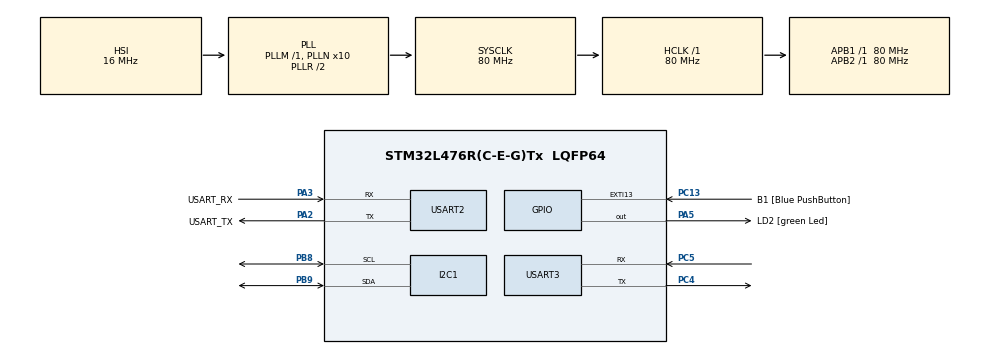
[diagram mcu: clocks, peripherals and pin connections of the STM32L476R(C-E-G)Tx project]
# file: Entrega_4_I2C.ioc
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I2C1.Timing=0x10909CEC
Mcu.Family=STM32L4
Mcu.Name=STM32L476R(C-E-G)Tx
Mcu.Package=LQFP64
NVIC.I2C1_ER_IRQn=true\:0\:0\:false\:false\:true\:true\:true\:true
NVIC.I2C1_EV_IRQn=true\:0\:0\:false\:false\:true\:true\:true\:true
NVIC.PriorityGroup=NVIC_PRIORITYGROUP_4
NVIC.USART2_IRQn=true\:0\:0\:false\:false\:true\:true\:true\:true
NVIC.USART3_IRQn=true\:0\:0\:false\:false\:true\:true\:true\:true
PA13\ (JTMS-SWDIO).GPIO_Label=TMS
PA13\ (JTMS-SWDIO).Mode=Serial_Wire
PA13\ (JTMS-SWDIO).Signal=SYS_JTMS-SWDIO
PA14\ (JTCK-SWCLK).GPIO_Label=TCK
PA14\ (JTCK-SWCLK).Mode=Serial_Wire
PA14\ (JTCK-SWCLK).Signal=SYS_JTCK-SWCLK
PA2.GPIO_Label=USART_TX
PA2.GPIO_Mode=GPIO_MODE_AF_PP
PA2.GPIO_PuPd=GPIO_NOPULL
PA2.GPIO_Speed=GPIO_SPEED_FREQ_VERY_HIGH
PA2.Mode=Asynchronous
PA2.Signal=USART2_TX
PA3.GPIO_Label=USART_RX
PA3.GPIO_Mode=GPIO_MODE_AF_PP
PA3.GPIO_PuPd=GPIO_NOPULL
PA3.GPIO_Speed=GPIO_SPEED_FREQ_VERY_HIGH
PA3.Mode=Asynchronous
PA3.Signal=USART2_RX
PA5.GPIO_Label=LD2 [green Led]
PA5.GPIO_ModeDefaultOutputPP=GPIO_MODE_OUTPUT_PP
PA5.GPIO_PuPd=GPIO_NOPULL
PA5.GPIO_Speed=GPIO_SPEED_FREQ_LOW
PA5.Signal=GPIO_Output
PB3\ (JTDO-TRACESWO).GPIO_Label=SWO
PB3\ (JTDO-TRACESWO).Signal=SYS_JTDO-SWO
PB8.Mode=I2C
PB8.Signal=I2C1_SCL
PB9.Mode=I2C
PB9.Signal=I2C1_SDA
PC13.GPIO_Label=B1 [Blue PushButton]
PC13.GPIO_ModeDefaultEXTI=GPIO_MODE_IT_FALLING
PC13.GPIO_PuPd=GPIO_NOPULL
PC13.Signal=GPXTI13
PC14-OSC32_IN\ (PC14).Mode=LSE-External-Oscillator
PC14-OSC32_IN\ (PC14).Signal=RCC_OSC32_IN
PC15-OSC32_OUT\ (PC15).Mode=LSE-External-Oscillator
PC15-OSC32_OUT\ (PC15).Signal=RCC_OSC32_OUT
PC4.Mode=Asynchronous
PC4.Signal=USART3_TX
PC5.Mode=Asynchronous
PC5.Signal=USART3_RX
PH0-OSC_IN\ (PH0).Signal=RCC_OSC_IN
PH1-OSC_OUT\ (PH1).Signal=RCC_OSC_OUT
ProjectManager.HeapSize=0x200
ProjectManager.StackSize=0x400
ProjectManager.TargetToolchain=STM32CubeIDE
RCC.ADCFreq_Value=64000000
RCC.AHBFreq_Value=80000000
RCC.APB1Freq_Value=80000000
RCC.APB1TimFreq_Value=80000000
RCC.APB2Freq_Value=80000000
RCC.APB2TimFreq_Value=80000000
RCC.CortexFreq_Value=80000000
RCC.HCLKFreq_Value=80000000
RCC.HSE_VALUE=8000000
RCC.HSI_VALUE=16000000
RCC.MSI_VALUE=4000000
RCC.PLLN=10
RCC.PLLSourceVirtual=RCC_PLLSOURCE_HSI
RCC.PREFETCH_ENABLE=1
RCC.SYSCLKFreq_VALUE=80000000
RCC.SYSCLKSource=RCC_SYSCLKSOURCE_PLLCLK
RCC.USBFreq_Value=64000000
RCC.VCOOutputFreq_Value=160000000
USART2.VirtualMode-Asynchronous=VM_ASYNC
USART3.VirtualMode-Asynchronous=VM_ASYNC
board=NUCLEO-L476RG

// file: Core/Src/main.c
/* USER CODE BEGIN Header */
/**
  ******************************************************************************
  * @file           : main.c
  * @brief          : Main program body
  ******************************************************************************
  */
/* USER CODE END Header */

#include "main.h"

/* USER CODE BEGIN Includes */
#include <string.h>
#include <stdio.h>
#include <stdlib.h>
/* USER CODE END Includes */

/* USER CODE BEGIN PD */
#define PCF8591_ADDR       (0x48 << 1)

#define PCF8591_CH0        0x00
#define PCF8591_CH1        0x01
#define PCF8591_CH3        0x03
#define PCF8591_DAC_ENABLE 0x40

#define RX_BUFFER_SIZE     64
/* USER CODE END PD */

I2C_HandleTypeDef hi2c1;

UART_HandleTypeDef huart2;
UART_HandleTypeDef huart3;

/* USER CODE BEGIN PV */
uint8_t uart_rx_byte;

char uart_cmd_buffer[RX_BUFFER_SIZE];
volatile uint8_t uart_cmd_index = 0;
volatile uint8_t uart_cmd_ready = 0;

uint8_t i2c_tx_buffer[2];
uint8_t i2c_rx_buffer[2];

volatile uint8_t current_channel = 0;
volatile uint8_t waiting_adc_read = 0;
volatile uint8_t waiting_dac_write = 0;
volatile uint8_t current_dac_value = 0;

char uart_tx_buffer[128];
/* USER CODE END PV */

void SystemClock_Config(void);
static void MX_GPIO_Init(void);
static void MX_USART2_UART_Init(void);
static void MX_I2C1_Init(void);
static void MX_USART3_UART_Init(void);

/* USER CODE BEGIN PFP */
void process_command(char *cmd);
void pcf8591_read_channel(uint8_t channel);
void pcf8591_set_dac(uint8_t value);
void debug_print(const char *msg);
void blink_startup(void);
/* USER CODE END PFP */

/* USER CODE BEGIN 0 */

void debug_print(const char *msg)
{
  HAL_UART_Transmit(&huart2, (uint8_t *)msg, strlen(msg), 100);
}

void blink_startup(void)
{
  for (int i = 0; i < 3; i++)
  {
    HAL_GPIO_WritePin(LD2_GPIO_Port, LD2_Pin, GPIO_PIN_SET);
    HAL_Delay(150);
    HAL_GPIO_WritePin(LD2_GPIO_Port, LD2_Pin, GPIO_PIN_RESET);
    HAL_Delay(150);
  }
}

/* USER CODE END 0 */

int main(void)
{

  HAL_Init();

  SystemClock_Config();

  MX_GPIO_Init();
  MX_USART2_UART_Init();
  MX_I2C1_Init();
  MX_USART3_UART_Init();

  /* USER CODE BEGIN 2 */

  blink_startup();

  debug_print("\r\n====================================\r\n");
  debug_print("Sistema iniciado na USART2\r\n");
  debug_print("Terminal: Tera Term / COM3 / 115200\r\n");
  debug_print("I2C1: PCF8591 endereco 0x48\r\n");
  debug_print("====================================\r\n");
  debug_print("Comandos disponiveis:\r\n");
  debug_print("Read_AIN0\r\n");
  debug_print("Read_AIN1\r\n");
  debug_print("Read_AIN3\r\n");
  debug_print("Set_DAC_0 ate Set_DAC_255\r\n");
  debug_print("Exemplo: Set_DAC_125\r\n");
  debug_print("====================================\r\n\r\n");

  HAL_UART_Receive_IT(&huart2, &uart_rx_byte, 1);

  /* USER CODE END 2 */

  /* Infinite loop */
  while (1)
  {
    /* USER CODE BEGIN WHILE */

    if (uart_cmd_ready)
    {
      uart_cmd_ready = 0;

      process_command(uart_cmd_buffer);

      memset(uart_cmd_buffer, 0, RX_BUFFER_SIZE);
    }

    /* USER CODE END WHILE */

  }
}

void SystemClock_Config(void)
{
  RCC_OscInitTypeDef RCC_OscInitStruct = {0};
  RCC_ClkInitTypeDef RCC_ClkInitStruct = {0};

  if (HAL_PWREx_ControlVoltageScaling(PWR_REGULATOR_VOLTAGE_SCALE1) != HAL_OK)
  {
    Error_Handler();
  }

  RCC_OscInitStruct.OscillatorType = RCC_OSCILLATORTYPE_HSI;
  RCC_OscInitStruct.HSIState = RCC_HSI_ON;
  RCC_OscInitStruct.HSICalibrationValue = RCC_HSICALIBRATION_DEFAULT;
  RCC_OscInitStruct.PLL.PLLState = RCC_PLL_ON;
  RCC_OscInitStruct.PLL.PLLSource = RCC_PLLSOURCE_HSI;
  RCC_OscInitStruct.PLL.PLLM = 1;
  RCC_OscInitStruct.PLL.PLLN = 10;
  RCC_OscInitStruct.PLL.PLLP = RCC_PLLP_DIV7;
  RCC_OscInitStruct.PLL.PLLQ = RCC_PLLQ_DIV2;
  RCC_OscInitStruct.PLL.PLLR = RCC_PLLR_DIV2;

  if (HAL_RCC_OscConfig(&RCC_OscInitStruct) != HAL_OK)
  {
    Error_Handler();
  }

  RCC_ClkInitStruct.ClockType = RCC_CLOCKTYPE_HCLK | RCC_CLOCKTYPE_SYSCLK
                              | RCC_CLOCKTYPE_PCLK1 | RCC_CLOCKTYPE_PCLK2;
  RCC_ClkInitStruct.SYSCLKSource = RCC_SYSCLKSOURCE_PLLCLK;
  RCC_ClkInitStruct.AHBCLKDivider = RCC_SYSCLK_DIV1;
  RCC_ClkInitStruct.APB1CLKDivider = RCC_HCLK_DIV1;
  RCC_ClkInitStruct.APB2CLKDivider = RCC_HCLK_DIV1;

  if (HAL_RCC_ClockConfig(&RCC_ClkInitStruct, FLASH_LATENCY_4) != HAL_OK)
  {
    Error_Handler();
  }
}

static void MX_I2C1_Init(void)
{
  hi2c1.Instance = I2C1;
  hi2c1.Init.Timing = 0x10909CEC;
  hi2c1.Init.OwnAddress1 = 0;
  hi2c1.Init.AddressingMode = I2C_ADDRESSINGMODE_7BIT;
  hi2c1.Init.DualAddressMode = I2C_DUALADDRESS_DISABLE;
  hi2c1.Init.OwnAddress2 = 0;
  hi2c1.Init.OwnAddress2Masks = I2C_OA2_NOMASK;
  hi2c1.Init.GeneralCallMode = I2C_GENERALCALL_DISABLE;
  hi2c1.Init.NoStretchMode = I2C_NOSTRETCH_DISABLE;

  if (HAL_I2C_Init(&hi2c1) != HAL_OK)
  {
    Error_Handler();
  }

  if (HAL_I2CEx_ConfigAnalogFilter(&hi2c1, I2C_ANALOGFILTER_ENABLE) != HAL_OK)
  {
    Error_Handler();
  }

  if (HAL_I2CEx_ConfigDigitalFilter(&hi2c1, 0) != HAL_OK)
  {
    Error_Handler();
  }
}

static void MX_USART2_UART_Init(void)
{
  huart2.Instance = USART2;
  huart2.Init.BaudRate = 115200;
  huart2.Init.WordLength = UART_WORDLENGTH_8B;
  huart2.Init.StopBits = UART_STOPBITS_1;
  huart2.Init.Parity = UART_PARITY_NONE;
  huart2.Init.Mode = UART_MODE_TX_RX;
  huart2.Init.HwFlowCtl = UART_HWCONTROL_NONE;
  huart2.Init.OverSampling = UART_OVERSAMPLING_16;
  huart2.Init.OneBitSampling = UART_ONE_BIT_SAMPLE_DISABLE;
  huart2.AdvancedInit.AdvFeatureInit = UART_ADVFEATURE_NO_INIT;

  if (HAL_UART_Init(&huart2) != HAL_OK)
  {
    Error_Handler();
  }
}

static void MX_USART3_UART_Init(void)
{
  huart3.Instance = USART3;
  huart3.Init.BaudRate = 115200;
  huart3.Init.WordLength = UART_WORDLENGTH_8B;
  huart3.Init.StopBits = UART_STOPBITS_1;
  huart3.Init.Parity = UART_PARITY_NONE;
  huart3.Init.Mode = UART_MODE_TX_RX;
  huart3.Init.HwFlowCtl = UART_HWCONTROL_NONE;
  huart3.Init.OverSampling = UART_OVERSAMPLING_16;
  huart3.Init.OneBitSampling = UART_ONE_BIT_SAMPLE_DISABLE;
  huart3.AdvancedInit.AdvFeatureInit = UART_ADVFEATURE_NO_INIT;

  if (HAL_UART_Init(&huart3) != HAL_OK)
  {
    Error_Handler();
  }
}

static void MX_GPIO_Init(void)
{
  GPIO_InitTypeDef GPIO_InitStruct = {0};

  __HAL_RCC_GPIOC_CLK_ENABLE();
  __HAL_RCC_GPIOH_CLK_ENABLE();
  __HAL_RCC_GPIOA_CLK_ENABLE();
  __HAL_RCC_GPIOB_CLK_ENABLE();

  HAL_GPIO_WritePin(LD2_GPIO_Port, LD2_Pin, GPIO_PIN_RESET);

  GPIO_InitStruct.Pin = B1_Pin;
  GPIO_InitStruct.Mode = GPIO_MODE_IT_FALLING;
  GPIO_InitStruct.Pull = GPIO_NOPULL;
  HAL_GPIO_Init(B1_GPIO_Port, &GPIO_InitStruct);

  GPIO_InitStruct.Pin = LD2_Pin;
  GPIO_InitStruct.Mode = GPIO_MODE_OUTPUT_PP;
  GPIO_InitStruct.Pull = GPIO_NOPULL;
  GPIO_InitStruct.Speed = GPIO_SPEED_FREQ_LOW;
  HAL_GPIO_Init(LD2_GPIO_Port, &GPIO_InitStruct);
}

/* USER CODE BEGIN 4 */

void process_command(char *cmd)
{
  int len = strlen(cmd);

  while (len > 0 &&
         (cmd[len - 1] == '\r' ||
          cmd[len - 1] == '\n' ||
          cmd[len - 1] == ' '  ||
          cmd[len - 1] == '\t'))
  {
    cmd[len - 1] = '\0';
    len--;
  }

  snprintf(uart_tx_buffer, sizeof(uart_tx_buffer), "\r\nComando recebido: %s\r\n", cmd);
  debug_print(uart_tx_buffer);

  if (strcmp(cmd, "Read_AIN0") == 0)
  {
    debug_print("Lendo AIN0...\r\n");
    pcf8591_read_channel(PCF8591_CH0);
  }
  else if (strcmp(cmd, "Read_AIN1") == 0)
  {
    debug_print("Lendo AIN1...\r\n");
    pcf8591_read_channel(PCF8591_CH1);
  }
  else if (strcmp(cmd, "Read_AIN3") == 0)
  {
    debug_print("Lendo AIN3...\r\n");
    pcf8591_read_channel(PCF8591_CH3);
  }
  else if (strncmp(cmd, "Set_DAC_", 8) == 0)
  {
    int dac_value = -1;
    char extra_char = '\0';

    if (sscanf(cmd, "Set_DAC_%d%c", &dac_value, &extra_char) >= 1)
    {
      if (dac_value >= 0 && dac_value <= 255)
      {
        snprintf(uart_tx_buffer, sizeof(uart_tx_buffer), "Enviando DAC: %d\r\n", dac_value);
        debug_print(uart_tx_buffer);

        pcf8591_set_dac((uint8_t)dac_value);
      }
      else
      {
        debug_print("Valor invalido. Use um numero de 0 a 255\r\n");
      }
    }
    else
    {
      debug_print("Formato invalido. Exemplo correto: Set_DAC_125\r\n");
    }
  }
  else
  {
    debug_print("Comando invalido\r\n");
    debug_print("Use: Read_AIN0, Read_AIN1, Read_AIN3 ou Set_DAC_125\r\n");
  }
}

void pcf8591_read_channel(uint8_t channel)
{
  current_channel = channel;
  waiting_adc_read = 1;
  waiting_dac_write = 0;

  i2c_tx_buffer[0] = channel;

  if (HAL_I2C_Master_Transmit_IT(&hi2c1, PCF8591_ADDR, i2c_tx_buffer, 1) != HAL_OK)
  {
    waiting_adc_read = 0;
    debug_print("Erro ao iniciar transmissao I2C\r\n");
  }
}

void pcf8591_set_dac(uint8_t value)
{
  current_dac_value = value;
  waiting_adc_read = 0;
  waiting_dac_write = 1;

  i2c_tx_buffer[0] = PCF8591_DAC_ENABLE;
  i2c_tx_buffer[1] = value;

  if (HAL_I2C_Master_Transmit_IT(&hi2c1, PCF8591_ADDR, i2c_tx_buffer, 2) != HAL_OK)
  {
    waiting_dac_write = 0;
    debug_print("Erro ao iniciar escrita DAC via I2C\r\n");
  }
}

void HAL_UART_RxCpltCallback(UART_HandleTypeDef *huart)
{
  if (huart->Instance == USART2)
  {
    HAL_GPIO_TogglePin(LD2_GPIO_Port, LD2_Pin);

    if ((uart_rx_byte == '\r') || (uart_rx_byte == '\n'))
    {
      if ((uart_cmd_index > 0) && (uart_cmd_ready == 0))
      {
        uart_cmd_buffer[uart_cmd_index] = '\0';
        uart_cmd_ready = 1;
        uart_cmd_index = 0;
      }
    }
    else if (uart_cmd_ready == 0)
    {
      if (uart_cmd_index < (RX_BUFFER_SIZE - 1))
      {
        uart_cmd_buffer[uart_cmd_index++] = (char)uart_rx_byte;
      }
      else
      {
        uart_cmd_index = 0;
        memset(uart_cmd_buffer, 0, RX_BUFFER_SIZE);
        debug_print("\r\nBuffer cheio. Digite novamente.\r\n");
      }
    }

    HAL_UART_Receive_IT(&huart2, &uart_rx_byte, 1);
  }
}

void HAL_I2C_MasterTxCpltCallback(I2C_HandleTypeDef *hi2c)
{
  if (hi2c->Instance == I2C1)
  {
    if (waiting_adc_read)
    {
      if (HAL_I2C_Master_Receive_IT(&hi2c1, PCF8591_ADDR, i2c_rx_buffer, 2) != HAL_OK)
      {
        waiting_adc_read = 0;
        debug_print("Erro ao iniciar leitura I2C\r\n");
      }
    }
    else if (waiting_dac_write)
    {
      waiting_dac_write = 0;

      snprintf(uart_tx_buffer,
               sizeof(uart_tx_buffer),
               "Valor do DAC confirmado: %u\r\n",
               current_dac_value);

      debug_print(uart_tx_buffer);
    }
  }
}

void HAL_I2C_MasterRxCpltCallback(I2C_HandleTypeDef *hi2c)
{
  if (hi2c->Instance == I2C1)
  {
    if (waiting_adc_read)
    {
      waiting_adc_read = 0;

      uint8_t value = i2c_rx_buffer[1];

      if (current_channel == PCF8591_CH0)
      {
        snprintf(uart_tx_buffer,
                 sizeof(uart_tx_buffer),
                 "AIN0: %u\r\n",
                 value);
      }
      else if (current_channel == PCF8591_CH1)
      {
        snprintf(uart_tx_buffer,
                 sizeof(uart_tx_buffer),
                 "AIN1: %u\r\n",
                 value);
      }
      else if (current_channel == PCF8591_CH3)
      {
        snprintf(uart_tx_buffer,
                 sizeof(uart_tx_buffer),
                 "AIN3: %u\r\n",
                 value);
      }
      else
      {
        snprintf(uart_tx_buffer,
                 sizeof(uart_tx_buffer),
                 "Canal invalido\r\n");
      }

      debug_print(uart_tx_buffer);
    }
  }
}

void HAL_I2C_ErrorCallback(I2C_HandleTypeDef *hi2c)
{
  if (hi2c->Instance == I2C1)
  {
    waiting_adc_read = 0;
    waiting_dac_write = 0;

    snprintf(uart_tx_buffer,
             sizeof(uart_tx_buffer),
             "Erro I2C. Codigo HAL: %lu\r\n",
             HAL_I2C_GetError(&hi2c1));

    debug_print(uart_tx_buffer);
  }
}

/* USER CODE END 4 */

void Error_Handler(void)
{
  /* USER CODE BEGIN Error_Handler_Debug */
  __disable_irq();

  while (1)
  {
    HAL_GPIO_TogglePin(LD2_GPIO_Port, LD2_Pin);
    HAL_Delay(200);
  }
  /* USER CODE END Error_Handler_Debug */
}
